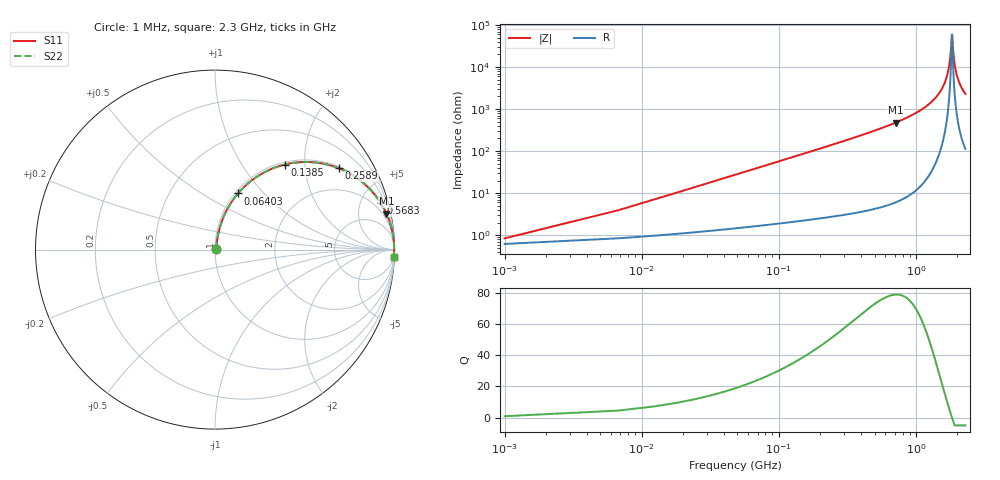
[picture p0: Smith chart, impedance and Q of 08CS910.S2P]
! Coilcraft 0805CS-910 Chip Inductor
! 11 June 2002
# MHZ S MA R 50
!Freq  MagS11  AngS11  MagS21  AngS21  MagS12  AngS12  MagS22  AngS22
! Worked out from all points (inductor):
!   403 points, 1 MHz to 2.3 GHz, reference 50 ohm
!   read as one part in series: L = 90.4 nH near 12.46 MHz
!   highest Q = 79 at 711.5 MHz (marker M1), where L = 106 nH
!   self-resonance near 1.835 GHz
!   S11 on the Smith chart (normalised r, x): 1 MHz: 1.01, +0.01; 64.03 MHz: 1.03, +0.73; 138.5 MHz: 1.04, +1.58; 258.9 MHz: 1.06, +3.00; 568.3 MHz: 1.09, +7.14; 2.3 GHz: 3, -46
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1  0.008357 42.2  0.9938 -0.3  0.9938 -0.3  0.008357 42.2
18.19  0.1022 78.2  0.9842 -5.8  0.9842 -5.8  0.1022 78.2
23.92  0.1336 77.4  0.9797 -7.7  0.9797 -7.7  0.1336 77.4
41.11  0.2249 73.6  0.9612 -13.0  0.9612 -13.0  0.2249 73.6
64.03  0.3377 67.8  0.9265 -19.7  0.9265 -19.7  0.3377 67.8
138.52  0.6126 50.7  0.7739 -37.8  0.7739 -37.8  0.6126 50.7
258.85  0.825 33.4  0.5499 -55.6  0.5499 -55.6  0.825 33.4
384.91  0.9111 23.5  0.3984 -65.6  0.3984 -65.6  0.9111 23.5
568.27  0.9597 15.6  0.2689 -73.7  0.2689 -73.7  0.9597 15.6
711.52  0.9761 11.8  0.2053 -77.4  0.2053 -77.4  0.9761 11.8
768.82  0.9804 10.7  0.1852 -78.6  0.1852 -78.6  0.9804 10.7
1152.73  0.9942 5.3  0.09208 -83.7  0.09208 -83.7  0.9942 5.3
1536.64  0.9979 2.0  0.0344 -85.5  0.0344 -85.5  0.9979 2.0
1651.24  0.9983 1.2  0.02053 -84.5  0.02053 -84.5  0.9983 1.2
1731.46  0.9984 0.7  0.01148 -81.4  0.01148 -81.4  0.9984 0.7
1783.03  0.9984 0.3  0.005974 -74.0  0.005974 -74.0  0.9984 0.3
1834.6  0.9984 0.0  0.001675 -10.2  0.001675 -10.2  0.9984 0.0
1846.06  0.9983 -0.1  0.001882 28.3  0.001882 28.3  0.9983 -0.1
1880.44  0.9983 -0.3  0.004732 68.9  0.004732 68.9  0.9983 -0.3
1920.55  0.9982 -0.5  0.008634 78.0  0.008634 78.0  0.9982 -0.5
2058.07  0.9979 -1.2  0.0218 83.9  0.0218 83.9  0.9979 -1.2
2300  0.9969 -2.5  0.0433 84.7  0.0433 84.7  0.9969 -2.5
